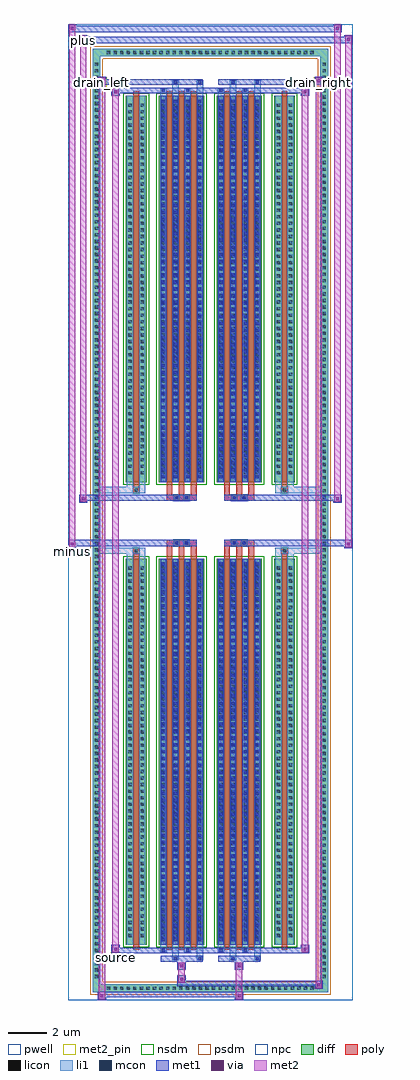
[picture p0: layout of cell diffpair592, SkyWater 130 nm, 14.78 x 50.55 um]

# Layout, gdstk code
import gdstk
lib = gdstk.Library(unit=1e-6, precision=5e-09)
def R(c, l, rs):  # rectangles x0, y0, x1, y1
    for r in rs: c.add(gdstk.rectangle(r[:2], r[2:], *l))
def A(c, l, x, y, w, h, nx, ny, dx, dy):  # array of equal rectangles
    R(c, l, [(x+i*dx, y+j*dy, x+i*dx+w, y+j*dy+h) for i in range(nx) for j in range(ny)])
def P(c, l, *ps):  # polygons
    for p in ps: c.add(gdstk.Polygon(p, *l))
pwell = (64, 44)
diff = (65, 20)
poly = (66, 20)
licon = (66, 44)
li1 = (67, 20)
mcon = (67, 44)
met1 = (68, 20)
via = (68, 44)
met2_pin = (69, 16)
met2 = (69, 20)
nsdm = (93, 44)
psdm = (94, 20)
npc = (95, 20)

diffpair592 = lib.new_cell('diffpair592')
R(diffpair592, pwell, [(-7.37,-24.84,7.37,25.71), (-4.69,-23.03,-0.01,-0.805), (0.01,-23.03,4.69,-0.805), (-4.69,0.805,-0.01,23.03), (0.01,0.805,4.69,23.03)])
A(diffpair592, diff, -5.475, -24.44, 0.41, 0.41, 32, 2, 0.34, 48.47)
A(diffpair592, diff, -6.1, -23.835, 0.41, 0.41, 1, 140, 0, 0.34)
A(diffpair592, diff, 5.69, -23.835, 0.41, 0.41, 1, 140, 0, 0.34)
R(diffpair592, diff, [(-5.475,-24.44,5.475,-24.03), (-6.1,-23.835,-5.69,23.835), (5.69,-23.835,6.1,23.835), (-4.38,-21.985,-3.3,-1.985), (-2.66,-21.985,-0.32,-1.985), (0.32,-21.985,2.66,-1.985), (3.3,-21.985,4.38,-1.985), (-4.38,1.985,-3.3,21.985), (-2.66,1.985,-0.32,21.985), (0.32,1.985,2.66,21.985), (3.3,1.985,4.38,21.985), (-5.475,24.03,5.475,24.44)])
P(diffpair592, diff, [(6.1,24.44),(-6.1,24.44),(-6.1,-24.03),(-5.69,-24.03),(-5.69,24.03),(5.69,24.03),(5.69,-24.03),(-5.69,-24.03),(-6.1,-24.03),(-6.1,-24.44),(6.1,-24.44)])
A(diffpair592, poly, -2.27, -22.235, 0.3, 20.5, 3, 2, 0.63, 23.97)
A(diffpair592, poly, 0.71, -22.235, 0.3, 20.5, 3, 2, 0.63, 23.97)
A(diffpair592, poly, -2.27, -1.735, 0.3, 0.4, 3, 2, 0.63, 3.07)
A(diffpair592, poly, 0.71, -1.735, 0.3, 0.4, 3, 2, 0.63, 3.07)
R(diffpair592, poly, [(-3.99,-22.235,-3.69,-1.735), (3.69,-22.235,3.99,-1.735), (-4.005,-1.735,-3.675,-1.405), (-4.005,-1.735,-3.675,-1.405), (3.675,-1.735,4.005,-1.405), (3.675,-1.735,4.005,-1.405), (-2.27,-1.335,-0.71,-1.005), (-1.905,-1.335,-1.575,-1.005), (-1.405,-1.335,-1.075,-1.005), (0.71,-1.335,2.27,-1.005), (1.075,-1.335,1.405,-1.005), (1.575,-1.335,1.905,-1.005), (-2.27,1.005,-0.71,1.335), (-1.905,1.005,-1.575,1.335), (-1.405,1.005,-1.075,1.335), (0.71,1.005,2.27,1.335), (1.075,1.005,1.405,1.335), (1.575,1.005,1.905,1.335), (-4.005,1.405,-3.675,1.735), (-4.005,1.405,-3.675,1.735), (3.675,1.405,4.005,1.735), (3.675,1.405,4.005,1.735), (-3.99,1.735,-3.69,22.235), (3.69,1.735,3.99,22.235)])
A(diffpair592, licon, -5.355, -24.32, 0.17, 0.17, 32, 2, 0.34, 48.47)
A(diffpair592, licon, -5.98, -23.715, 0.17, 0.17, 1, 140, 0, 0.34)
A(diffpair592, licon, 5.81, -23.715, 0.17, 0.17, 1, 140, 0, 0.34)
A(diffpair592, licon, -4.24, -21.59, 0.17, 0.17, 1, 57, 0, 0.34)
A(diffpair592, licon, -3.61, -21.59, 0.17, 0.17, 1, 57, 0, 0.34)
A(diffpair592, licon, -2.52, -21.59, 0.17, 0.17, 4, 57, 0.63, 0.34)
A(diffpair592, licon, 0.46, -21.59, 0.17, 0.17, 4, 57, 0.63, 0.34)
A(diffpair592, licon, 3.44, -21.59, 0.17, 0.17, 1, 57, 0, 0.34)
A(diffpair592, licon, 4.07, -21.59, 0.17, 0.17, 1, 57, 0, 0.34)
A(diffpair592, licon, -4.24, 2.38, 0.17, 0.17, 1, 57, 0, 0.34)
A(diffpair592, licon, -3.61, 2.38, 0.17, 0.17, 1, 57, 0, 0.34)
A(diffpair592, licon, -2.52, 2.38, 0.17, 0.17, 4, 57, 0.63, 0.34)
A(diffpair592, licon, 0.46, 2.38, 0.17, 0.17, 4, 57, 0.63, 0.34)
A(diffpair592, licon, 3.44, 2.38, 0.17, 0.17, 1, 57, 0, 0.34)
A(diffpair592, licon, 4.07, 2.38, 0.17, 0.17, 1, 57, 0, 0.34)
R(diffpair592, licon, [(-3.925,-1.655,-3.755,-1.485), (3.755,-1.655,3.925,-1.485), (-1.825,-1.255,-1.655,-1.085), (-1.325,-1.255,-1.155,-1.085), (1.155,-1.255,1.325,-1.085), (1.655,-1.255,1.825,-1.085), (-1.825,1.085,-1.655,1.255), (-1.325,1.085,-1.155,1.255), (1.155,1.085,1.325,1.255), (1.655,1.085,1.825,1.255), (-3.925,1.485,-3.755,1.655), (3.755,1.485,3.925,1.655)])
A(diffpair592, li1, -5.435, -24.4, 0.33, 0.33, 32, 2, 0.34, 48.47)
A(diffpair592, li1, -6.06, -23.795, 0.33, 0.33, 1, 140, 0, 0.34)
A(diffpair592, li1, 5.73, -23.795, 0.33, 0.33, 1, 140, 0, 0.34)
A(diffpair592, li1, -2.6, -21.985, 0.33, 20, 4, 2, 0.63, 23.97)
A(diffpair592, li1, 0.38, -21.985, 0.33, 20, 4, 2, 0.63, 23.97)
A(diffpair592, li1, -2.52, -21.79, 0.17, 0.17, 4, 55, 0.63, 0.36)
A(diffpair592, li1, -2.52, -21.79, 0.17, 19.61, 4, 2, 0.63, 23.97)
A(diffpair592, li1, 0.46, -21.79, 0.17, 0.17, 4, 55, 0.63, 0.36)
A(diffpair592, li1, 0.46, -21.79, 0.17, 19.61, 4, 2, 0.63, 23.97)
A(diffpair592, li1, -4.32, -21.67, 0.33, 0.33, 1, 57, 0, 0.34)
A(diffpair592, li1, -3.69, -21.67, 0.33, 0.33, 1, 57, 0, 0.34)
A(diffpair592, li1, -2.6, -21.67, 0.33, 0.33, 4, 57, 0.63, 0.34)
A(diffpair592, li1, 0.38, -21.67, 0.33, 0.33, 4, 57, 0.63, 0.34)
A(diffpair592, li1, 3.36, -21.67, 0.33, 0.33, 1, 57, 0, 0.34)
A(diffpair592, li1, 3.99, -21.67, 0.33, 0.33, 1, 57, 0, 0.34)
A(diffpair592, li1, -2.52, 2.18, 0.17, 0.17, 4, 55, 0.63, 0.36)
A(diffpair592, li1, 0.46, 2.18, 0.17, 0.17, 4, 55, 0.63, 0.36)
A(diffpair592, li1, -4.32, 2.3, 0.33, 0.33, 1, 57, 0, 0.34)
A(diffpair592, li1, -3.69, 2.3, 0.33, 0.33, 1, 57, 0, 0.34)
A(diffpair592, li1, -2.6, 2.3, 0.33, 0.33, 4, 57, 0.63, 0.34)
A(diffpair592, li1, 0.38, 2.3, 0.33, 0.33, 4, 57, 0.63, 0.34)
A(diffpair592, li1, 3.36, 2.3, 0.33, 0.33, 1, 57, 0, 0.34)
A(diffpair592, li1, 3.99, 2.3, 0.33, 0.33, 1, 57, 0, 0.34)
R(diffpair592, li1, [(-6.1,-24.44,-5.69,-24.03), (-6.1,-24.44,-5.69,-24.03), (-5.69,-24.44,5.69,-24.03), (5.69,-24.44,6.1,-24.03), (5.69,-24.44,6.1,-24.03), (-6.1,-24.03,-5.69,24.03), (5.69,-24.03,6.1,24.03), (-1.97,-22.79,-1.64,-21.985), (-1.89,-22.79,-1.72,-22.62), (-0.71,-22.79,-0.38,-21.985), (-0.63,-22.79,-0.46,-22.62), (1.01,-22.79,1.34,-21.985), (1.09,-22.79,1.26,-22.62), (2.27,-22.79,2.6,-21.985), (2.35,-22.79,2.52,-22.62), (-2.6,-22.36,-2.27,-21.985), (-2.52,-22.36,-2.35,-22.19), (-1.34,-22.36,-1.01,-21.985), (-1.26,-22.36,-1.09,-22.19), (0.38,-22.36,0.71,-21.985), (0.46,-22.36,0.63,-22.19), (1.64,-22.36,1.97,-21.985), (1.72,-22.36,1.89,-22.19), (-4.32,-21.985,-3.99,-1.985), (-3.69,-21.985,-3.36,-1.985), (3.36,-21.985,3.69,-1.985), (3.99,-21.985,4.32,-1.985), (-4.32,-1.985,-3.99,-1.405), (-3.69,-1.985,-3.36,-1.405), (3.36,-1.985,3.69,-1.405), (3.99,-1.985,4.32,-1.405), (-6.1,-1.735,-4.005,-1.405), (-4.32,-1.735,-4.005,-1.405), (-4.005,-1.735,-3.675,-1.405), (-3.675,-1.735,-3.36,-1.405), (3.36,-1.735,3.675,-1.405), (3.675,-1.735,4.005,-1.405), (3.675,-1.735,6.1,-1.405), (4.005,-1.735,4.32,-1.405), (-1.905,-1.335,-1.575,-1.005), (-1.405,-1.335,-1.075,-1.005), (1.075,-1.335,1.405,-1.005), (1.575,-1.335,1.905,-1.005), (-1.905,1.005,-1.575,1.335), (-1.405,1.005,-1.075,1.335), (1.075,1.005,1.405,1.335), (1.575,1.005,1.905,1.335), (-6.1,1.405,-4.005,1.735), (-4.32,1.405,-4.005,1.735), (-4.32,1.405,-3.99,1.985), (-4.005,1.405,-3.675,1.735), (-3.69,1.405,-3.36,1.985), (-3.675,1.405,-3.36,1.735), (3.36,1.405,3.675,1.735), (3.36,1.405,3.69,1.985), (3.675,1.405,4.005,1.735), (3.675,1.405,6.1,1.735), (3.99,1.405,4.32,1.985), (4.005,1.405,4.32,1.735), (-4.32,1.985,-3.99,21.985), (-3.69,1.985,-3.36,21.985), (3.36,1.985,3.69,21.985), (3.99,1.985,4.32,21.985), (-2.6,21.985,-2.27,22.36), (-1.97,21.985,-1.64,22.79), (-1.34,21.985,-1.01,22.36), (-0.71,21.985,-0.38,22.79), (0.38,21.985,0.71,22.36), (1.01,21.985,1.34,22.79), (1.64,21.985,1.97,22.36), (2.27,21.985,2.6,22.79), (-2.52,22.19,-2.35,22.36), (-1.26,22.19,-1.09,22.36), (0.46,22.19,0.63,22.36), (1.72,22.19,1.89,22.36), (-1.89,22.62,-1.72,22.79), (-0.63,22.62,-0.46,22.79), (1.09,22.62,1.26,22.79), (2.35,22.62,2.52,22.79), (-6.1,24.03,-5.69,24.44), (-6.1,24.03,-5.69,24.44), (-5.69,24.03,5.69,24.44), (5.69,24.03,6.1,24.44), (5.69,24.03,6.1,24.44)])
A(diffpair592, mcon, -2.52, -21.79, 0.17, 0.17, 4, 55, 0.63, 0.36)
A(diffpair592, mcon, 0.46, -21.79, 0.17, 0.17, 4, 55, 0.63, 0.36)
A(diffpair592, mcon, -2.52, 2.18, 0.17, 0.17, 4, 55, 0.63, 0.36)
A(diffpair592, mcon, 0.46, 2.18, 0.17, 0.17, 4, 55, 0.63, 0.36)
R(diffpair592, mcon, [(-1.89,-22.79,-1.72,-22.62), (-0.63,-22.79,-0.46,-22.62), (1.09,-22.79,1.26,-22.62), (2.35,-22.79,2.52,-22.62), (-2.52,-22.36,-2.35,-22.19), (-1.26,-22.36,-1.09,-22.19), (0.46,-22.36,0.63,-22.19), (1.72,-22.36,1.89,-22.19), (-1.825,-1.255,-1.655,-1.085), (-1.325,-1.255,-1.155,-1.085), (1.155,-1.255,1.325,-1.085), (1.655,-1.255,1.825,-1.085), (-1.825,1.085,-1.655,1.255), (-1.325,1.085,-1.155,1.255), (1.155,1.085,1.325,1.255), (1.655,1.085,1.825,1.255), (-2.52,22.19,-2.35,22.36), (-1.26,22.19,-1.09,22.36), (0.46,22.19,0.63,22.36), (1.72,22.19,1.89,22.36), (-1.89,22.62,-1.72,22.79), (-0.63,22.62,-0.46,22.79), (1.09,22.62,1.26,22.79), (2.35,22.62,2.52,22.79)])
A(diffpair592, met1, -2.58, -21.985, 0.29, 20, 4, 2, 0.63, 23.97)
A(diffpair592, met1, 0.4, -21.985, 0.29, 20, 4, 2, 0.63, 23.97)
A(diffpair592, met1, -2.58, -21.85, 0.29, 0.29, 4, 55, 0.63, 0.36)
A(diffpair592, met1, 0.4, -21.85, 0.29, 0.29, 4, 55, 0.63, 0.36)
A(diffpair592, met1, -2.58, 2.12, 0.29, 0.29, 4, 55, 0.63, 0.36)
A(diffpair592, met1, 0.4, 2.12, 0.29, 0.29, 4, 55, 0.63, 0.36)
R(diffpair592, met1, [(-5.83,-24.84,-5.4,-24.41), (1.275,-24.84,1.705,-24.41), (-5.83,-24.7,1.705,-24.41), (5.4,-24.27,5.83,-23.84), (-1.705,-24.13,5.83,-23.84), (-1.705,-23.99,-1.275,-23.56), (-1.705,-23.28,-1.275,-22.85), (1.275,-23.28,1.705,-22.85), (-2.58,-22.85,-0.4,-22.56), (-1.95,-22.85,-1.66,-22.56), (-0.69,-22.85,-0.4,-22.56), (0.4,-22.85,2.58,-22.56), (1.03,-22.85,1.32,-22.56), (2.29,-22.85,2.58,-22.56), (-5.12,-22.42,-4.69,-21.99), (-5.12,-22.42,-2.58,-22.13), (-2.58,-22.42,-2.29,-22.13), (-2.58,-22.42,-0.4,-22.13), (-1.32,-22.42,-1.03,-22.13), (-0.4,-22.42,0.4,-22.13), (0.4,-22.42,0.69,-22.13), (0.4,-22.42,2.58,-22.13), (1.66,-22.42,1.95,-22.13), (2.58,-22.42,5.12,-22.13), (4.69,-22.42,5.12,-21.99), (-7.37,-1.435,-6.94,-1.005), (6.94,-1.435,7.37,-1.005), (-7.37,-1.335,-0.71,-1.005), (-2.27,-1.335,-0.71,-1.005), (0.71,-1.335,2.27,-1.005), (0.71,-1.335,7.37,-1.005), (-1.885,-1.315,-1.595,-1.025), (-1.385,-1.315,-1.095,-1.025), (1.095,-1.315,1.385,-1.025), (1.595,-1.315,1.885,-1.025), (-6.8,0.905,-6.37,1.335), (6.37,0.905,6.8,1.335), (-6.8,1.005,-2.27,1.335), (-2.27,1.005,-0.71,1.335), (0.71,1.005,2.27,1.335), (2.27,1.005,6.8,1.335), (-1.885,1.025,-1.595,1.315), (-1.385,1.025,-1.095,1.315), (1.095,1.025,1.385,1.315), (1.595,1.025,1.885,1.315), (-5.12,21.99,-4.69,22.42), (4.69,21.99,5.12,22.42), (-5.12,22.13,-2.58,22.42), (-2.58,22.13,-2.29,22.42), (-2.58,22.13,-0.4,22.42), (-1.32,22.13,-1.03,22.42), (-0.4,22.13,0.4,22.42), (0.4,22.13,0.69,22.42), (0.4,22.13,2.58,22.42), (1.66,22.13,1.95,22.42), (2.58,22.13,5.12,22.42), (-5.83,22.56,-5.4,22.99), (-5.83,22.56,-2.58,22.85), (-2.58,22.56,-0.4,22.85), (-1.95,22.56,-1.66,22.85), (-0.69,22.56,-0.4,22.85), (0.4,22.56,2.58,22.85), (1.03,22.56,1.32,22.85), (2.29,22.56,2.58,22.85), (2.58,22.56,5.83,22.85), (5.4,22.56,5.83,22.99), (-6.8,24.71,-6.37,25.14), (-6.8,24.71,-4.69,25.04), (-4.69,24.71,4.69,25.04), (4.69,24.71,7.37,25.04), (6.94,24.71,7.37,25.14), (-7.37,25.28,-6.94,25.71), (-7.37,25.28,-4.69,25.61), (-4.69,25.28,4.69,25.61), (4.69,25.28,6.8,25.61), (6.37,25.28,6.8,25.71)])
R(diffpair592, via, [(-5.69,-24.7,-5.54,-24.55), (1.415,-24.7,1.565,-24.55), (5.54,-24.13,5.69,-23.98), (-1.565,-23.85,-1.415,-23.7), (-1.565,-23.14,-1.415,-22.99), (1.415,-23.14,1.565,-22.99), (-4.98,-22.28,-4.83,-22.13), (4.83,-22.28,4.98,-22.13), (-7.23,-1.295,-7.08,-1.145), (7.08,-1.295,7.23,-1.145), (-6.66,1.045,-6.51,1.195), (6.51,1.045,6.66,1.195), (-4.98,22.13,-4.83,22.28), (4.83,22.13,4.98,22.28), (-5.69,22.7,-5.54,22.85), (5.54,22.7,5.69,22.85), (-6.66,24.85,-6.51,25), (7.08,24.85,7.23,25), (-7.23,25.42,-7.08,25.57), (6.51,25.42,6.66,25.57)])
R(diffpair592, met2_pin, [(-5.155,-22.87,-4.655,-22.37), (-7.405,-1.885,-6.905,-1.385), (-5.865,22.44,-5.365,22.94), (5.365,22.44,5.865,22.94), (-6.835,24.59,-6.335,25.09)])
R(diffpair592, met2, [(-5.78,-24.79,-5.45,-24.46), (-5.78,-24.79,-5.45,22.94), (1.325,-24.79,1.655,-24.46), (1.325,-24.46,1.655,-23.23), (5.45,-24.22,5.78,-23.89), (5.45,-24.22,5.78,22.94), (-1.655,-23.94,-1.325,-23.61), (-1.655,-23.61,-1.325,-23.23), (-1.655,-23.23,-1.325,-22.9), (1.325,-23.23,1.655,-22.9), (-5.07,-22.37,-4.74,-22.04), (-5.07,-22.37,-4.74,22.37), (4.74,-22.37,5.07,-22.04), (4.74,-22.37,5.07,22.37), (-7.32,-1.385,-6.99,-1.055), (-7.32,-1.385,-6.99,25.66), (6.99,-1.385,7.32,-1.055), (6.99,-1.385,7.32,25.09), (-6.75,0.955,-6.42,1.285), (-6.75,0.955,-6.42,25.09), (6.42,0.955,6.75,1.285), (6.42,0.955,6.75,25.66), (-5.07,22.04,-4.74,22.37), (4.74,22.04,5.07,22.37), (-5.78,22.61,-5.45,22.94), (5.45,22.61,5.78,22.94), (-6.75,24.76,-6.42,25.09), (6.99,24.76,7.32,25.09), (-7.32,25.33,-6.99,25.66), (6.42,25.33,6.75,25.66)])
P(diffpair592, met2, [(7.32,-1.385),(7.32,-1.385),(7.32,-1.055),(7.32,-1.055)],
  [(7.32,24.76),(7.32,24.76),(7.32,25.09),(7.32,25.09)],
  [(-6.99,-1.385),(-6.99,-1.385),(-6.99,-1.055),(-6.99,-1.055)],
  [(-6.99,25.33),(-6.99,25.33),(-6.99,25.66),(-6.99,25.66)],
  [(6.75,0.955),(6.75,0.955),(6.75,1.285),(6.75,1.285)],
  [(6.75,25.33),(6.75,25.33),(6.75,25.66),(6.75,25.66)],
  [(-6.42,0.955),(-6.42,0.955),(-6.42,1.285),(-6.42,1.285)],
  [(-6.42,24.76),(-6.42,24.76),(-6.42,25.09),(-6.42,25.09)],
  [(-5.45,-24.79),(-5.45,-24.79),(-5.45,-24.46),(-5.45,-24.46)],
  [(-5.45,22.61),(-5.45,22.61),(-5.45,22.94),(-5.45,22.94)],
  [(5.78,-24.22),(5.78,-24.22),(5.78,-23.89),(5.78,-23.89)],
  [(5.78,22.61),(5.78,22.61),(5.78,22.94),(5.78,22.94)],
  [(-4.74,-22.37),(-4.74,-22.37),(-4.74,-22.04),(-4.74,-22.04)],
  [(-4.74,22.04),(-4.74,22.04),(-4.74,22.37),(-4.74,22.37)],
  [(5.07,-22.37),(5.07,-22.37),(5.07,-22.04),(5.07,-22.04)],
  [(5.07,22.04),(5.07,22.04),(5.07,22.37),(5.07,22.37)])
R(diffpair592, nsdm, [(-4.51,-22.115,-3.17,-1.855), (-2.79,-22.115,-0.19,-1.855), (0.19,-22.115,2.79,-1.855), (3.17,-22.115,4.51,-1.855), (-4.51,1.855,-3.17,22.115), (-2.79,1.855,-0.19,22.115), (0.19,1.855,2.79,22.115), (3.17,1.855,4.51,22.115)])
P(diffpair592, psdm, [(6.23,24.57),(-6.23,24.57),(-6.23,-23.9),(-5.56,-23.9),(-5.56,23.9),(5.56,23.9),(5.56,-23.9),(-5.56,-23.9),(-6.23,-23.9),(-6.23,-24.57),(6.23,-24.57)])
R(diffpair592, npc, [(-4.025,-1.755,-3.655,-1.385), (3.655,-1.755,4.025,-1.385), (-1.925,-1.355,-1.555,-0.985), (-1.925,-1.355,-1.055,-0.985), (-1.925,-1.355,-1.055,-0.985), (-1.425,-1.355,-1.055,-0.985), (1.055,-1.355,1.425,-0.985), (1.055,-1.355,1.925,-0.985), (1.055,-1.355,1.925,-0.985), (1.555,-1.355,1.925,-0.985), (-1.925,0.985,-1.555,1.355), (-1.925,0.985,-1.055,1.355), (-1.925,0.985,-1.055,1.355), (-1.425,0.985,-1.055,1.355), (1.055,0.985,1.425,1.355), (1.055,0.985,1.925,1.355), (1.055,0.985,1.925,1.355), (1.555,0.985,1.925,1.355), (-4.025,1.385,-3.655,1.755), (3.655,1.385,4.025,1.755)])
diffpair592.add(gdstk.Label('minus', (-7.155,-1.635), layer=69, texttype=5))
diffpair592.add(gdstk.Label('drain_right', (5.615,22.69), layer=69, texttype=5))
diffpair592.add(gdstk.Label('drain_left', (-5.615,22.69), layer=69, texttype=5))
diffpair592.add(gdstk.Label('source', (-4.905,-22.62), layer=69, texttype=5))
diffpair592.add(gdstk.Label('plus', (-6.585,24.84), layer=69, texttype=5))

lib.write_gds('diffpair592.gds')
